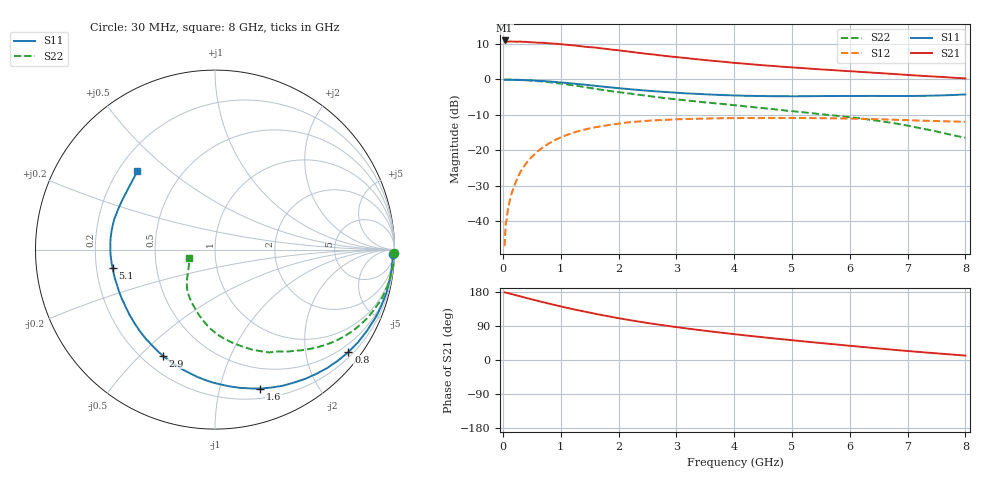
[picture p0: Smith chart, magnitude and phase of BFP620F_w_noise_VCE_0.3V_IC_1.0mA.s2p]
! Infineon Technologies  Discrete & RF Semiconductors
! BFP620F
! VCE =  0.3 V,  IC =  1.0 mA
! Common Emitter S-Parameters:  Dec 2014
# GHz  S  MA  R  50
!  f  S11  S21  S12  S22
! GHz  MAG  ANG  MAG  ANG  MAG  ANG  MAG  ANG
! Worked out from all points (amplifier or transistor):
!   95 points, 30 MHz to 8 GHz, reference 50 ohm
!   highest |S21| = 11.0 dB at 30 MHz (marker M1)
!   |S21| within 3 dB of that: start of sweep to 2.103 GHz
!   unconditionally stable (mu >= 1): 6.824 GHz to end of sweep
!   at 300 MHz: K = 0.02, MSG = 18.5 dB, |S12| = -26.2 dB
!   at 3.3 GHz: K = 0.50, MSG = 8.5 dB, |S12| = -11.1 dB
!   at 8 GHz: K = 1.21, MAG = 3.4 dB, |S12| = -12.0 dB
!   lowest NFmin = 0.63 dB at 450 MHz
!   S11 on the Smith chart (normalised r, x): 30 MHz: 29, -70; 800 MHz: 0.31, -2.92; 1.6 GHz: 0.29, -1.34; 2.9 GHz: 0.28, -0.59; 5.1 GHz: 0.27, -0.08; 8 GHz: 0.28, +0.39
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0.03  0.99 -1.4  3.564 178.5  0.0044 89.8  0.9987 -1.1
0.04  0.9911 -1.9  3.389 178.1  0.0064 90.1  0.9989 -1.5
0.05  0.9918 -2.4  3.413 177.8  0.0094 88.0  0.9984 -1.9
0.06  0.9923 -2.9  3.405 177.7  0.0098 85.3  0.9972 -2.1
0.09  0.991 -4.2  3.422 176.4  0.0149 82.2  0.9983 -3.2
0.15  0.9889 -7.1  3.445 174.0  0.0243 86.6  0.9963 -5.3
0.25  0.9855 -11.9  3.427 170.0  0.0404 83.0  0.9894 -8.7
0.5  0.9701 -23.5  3.359 160.1  0.0807 75.2  0.9647 -17.2
0.8  0.9374 -37.5  3.248 148.7  0.1253 65.4  0.914 -26.9
1.1  0.8934 -50.8  3.099 138.0  0.1639 56.4  0.8524 -35.9
1.4  0.8474 -63.5  2.917 128.2  0.1946 48.3  0.784 -44.2
1.6  0.8143 -72.0  2.826 121.9  0.2114 43.4  0.7398 -49.3
2  0.7531 -87.3  2.589 110.4  0.2372 34.9  0.662 -59.1
2.2  0.7285 -94.3  2.467 105.1  0.2488 30.6  0.6319 -64.3
2.7  0.675 -110.4  2.206 93.3  0.2663 22.1  0.5593 -74.5
2.9  0.6586 -116.3  2.112 89.0  0.2708 19.1  0.5347 -78.3
3.4  0.6231 -130.1  1.919 79.0  0.2792 12.6  0.4841 -86.5
4.1  0.5917 -147.3  1.695 66.5  0.2851 4.9  0.4256 -95.7
5.1  0.5798 -169.6  1.465 50.7  0.2853 -4.2  0.35 -108.1
5.4  0.5818 -175.5  1.408 46.2  0.2841 -6.6  0.3304 -112.0
6.7  0.5844 158.9  1.205 27.8  0.271 -16.1  0.2456 -129.7
8  0.6148 134.7  1.035 11.6  0.2525 -21.5  0.1501 -161.6
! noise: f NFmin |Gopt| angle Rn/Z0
0.45  0.63  0.7  11  0.33
0.9  0.82  0.71  21  0.28
1.5  0.98  0.64  33  0.28
1.8  1.05  0.63  37  0.28
1.9  1.07  0.6  46  0.29
2.4  1.19  0.58  59  0.27
3.5  1.44  0.56  83  0.2
5.5  1.85  0.41  143  0.17
6  1.94  0.29  161  0.33
